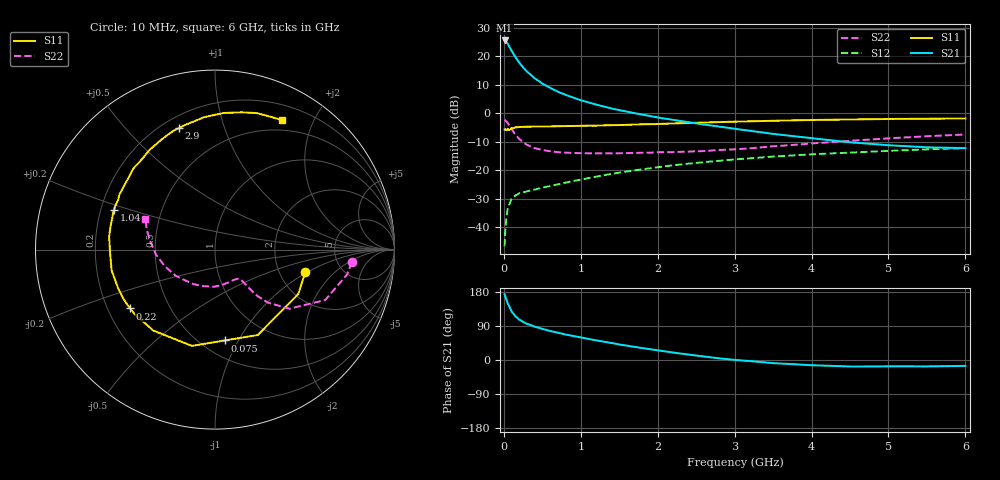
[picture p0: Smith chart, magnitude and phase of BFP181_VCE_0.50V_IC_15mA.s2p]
! Infineon Technologies  Discrete & RF Semiconductors
! BFP181
! VCE = 0.50V,  IC =  15 mA
! Common Emitter S-Parameters:  Jan 2016
# GHz  S  MA  R  50
!  f  S11  S21  S12  S22
! GHz  MAG  ANG  MAG  ANG  MAG  ANG  MAG  ANG
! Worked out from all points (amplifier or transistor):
!   210 points, 10 MHz to 6 GHz, reference 50 ohm
!   highest |S21| = 25.6 dB at 10 MHz (marker M1)
!   |S21| within 3 dB of that: start of sweep to 87.57 MHz
!   unconditionally stable (mu >= 1): start of sweep to 18.84 MHz; 217.5 MHz to end of sweep
!   at 185 MHz: K = 0.89, MSG = 23.4 dB, |S12| = -28.4 dB
!   at 1.52 GHz: K = 2.82, MAG = 3.5 dB, |S12| = -20.8 dB
!   at 6 GHz: K = 2.62, MAG = -7.0 dB, |S12| = -12.3 dB
!   S11 on the Smith chart (normalised r, x): 10 MHz: 2.78, -0.96; 75 MHz: 0.64, -0.88; 220 MHz: 0.29, -0.29; 1.04 GHz: 0.25, +0.18; 2.9 GHz: 0.26, +0.71; 6 GHz: 0.37, +1.57
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0.01  0.5178 -14.1  19.09 173.4  0.0046 74.8  0.7652 -5.2
0.02  0.5262 -27.9  18.8 167.0  0.0092 73.3  0.7493 -10.6
0.05  0.5323 -63.4  16.82 148.8  0.0208 62.8  0.6753 -24.6
0.075  0.5092 -83.8  14.51 139.9  0.0257 52.8  0.5978 -30.7
0.1  0.5517 -103.5  12.67 128.0  0.0312 46.2  0.5291 -38.5
0.15  0.5672 -127.3  9.721 115.0  0.0358 39.1  0.4201 -44.9
0.2  0.5743 -141.3  7.772 106.6  0.0392 35.4  0.353 -47.5
0.22  0.5746 -145.2  7.208 104.4  0.0398 34.9  0.3356 -47.8
0.26  0.5794 -152.4  6.189 99.5  0.0411 34.2  0.3035 -48.3
0.3  0.5811 -158.3  5.416 95.5  0.0424 34.0  0.2791 -48.5
0.4  0.5875 -168.6  4.137 87.9  0.0457 34.9  0.2438 -48.8
0.5  0.5844 -176.0  3.328 81.9  0.0488 36.5  0.2256 -49.0
0.7  0.5943 173.1  2.394 71.9  0.0561 40.1  0.2069 -51.7
1.02  0.6037 159.6  1.666 58.6  0.0688 43.6  0.1984 -58.9
1.04  0.6043 158.8  1.636 57.8  0.0697 43.7  0.1982 -59.5
1.5  0.62 143.9  1.135 41.0  0.0901 44.6  0.1981 -73.0
2.02  0.6486 128.5  0.836 25.1  0.1132 42.5  0.2067 -91.1
2.9  0.7064 106.7  0.559 2.4  0.1501 35.6  0.2287 -124.9
3.1  0.7161 102.4  0.513 -1.2  0.1579 33.8  0.2367 -132.7
4.1  0.7649 84.9  0.352 -14.4  0.1927 24.0  0.3007 -164.8
5.1  0.7961 71.9  0.27 -16.7  0.221 14.7  0.3681 171.2
6  0.8111 62.8  0.244 -15.5  0.2437 6.1  0.424 156.1
